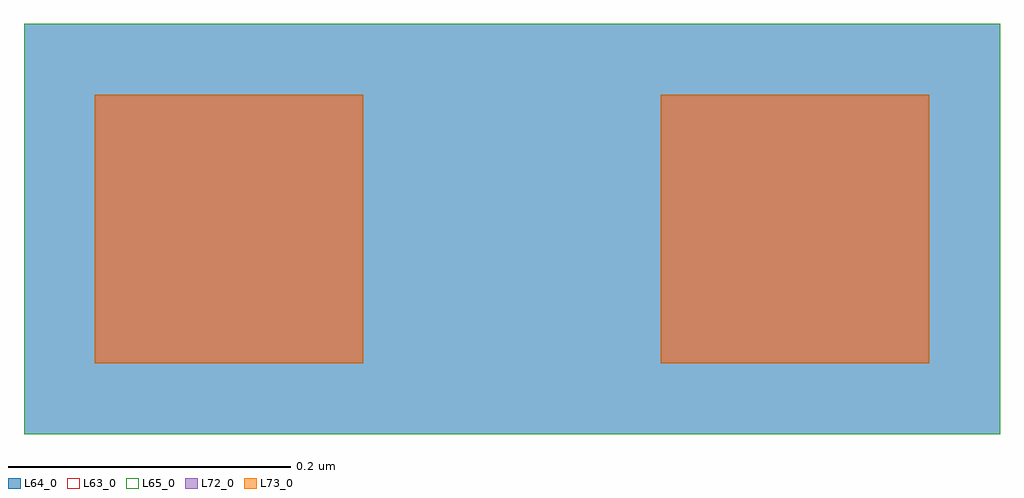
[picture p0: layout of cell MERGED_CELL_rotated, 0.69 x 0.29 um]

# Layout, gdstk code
import gdstk
lib = gdstk.Library(unit=1e-6, precision=1e-09)
def R(c, l, rs):  # rectangles x0, y0, x1, y1
    for r in rs: c.add(gdstk.rectangle(r[:2], r[2:], *l))
L63_0 = (63, 0)
L64_0 = (64, 0)
L65_0 = (65, 0)
L72_0 = (72, 0)
L73_0 = (73, 0)

merged_cell_rotated = lib.new_cell('MERGED_CELL_rotated')
R(merged_cell_rotated, L63_0, [(-0.345,-0.145,0.345,0.145), (-0.345,-0.145,0.345,0.145)])
R(merged_cell_rotated, L64_0, [(-0.345,-0.145,0.345,0.145), (-0.345,-0.145,0.345,0.145), (-0.345,-0.145,0.345,0.145), (-0.345,-0.145,0.345,0.145)])
R(merged_cell_rotated, L65_0, [(-0.345,-0.145,0.345,0.145), (-0.345,-0.145,0.345,0.145)])
R(merged_cell_rotated, L72_0, [(-0.295,-0.095,-0.105,0.095), (-0.295,-0.095,-0.105,0.095), (0.105,-0.095,0.295,0.095), (0.105,-0.095,0.295,0.095)])
R(merged_cell_rotated, L73_0, [(-0.295,-0.095,-0.105,0.095), (-0.295,-0.095,-0.105,0.095), (0.105,-0.095,0.295,0.095), (0.105,-0.095,0.295,0.095)])

lib.write_gds('MERGED_CELL_rotated.gds')
